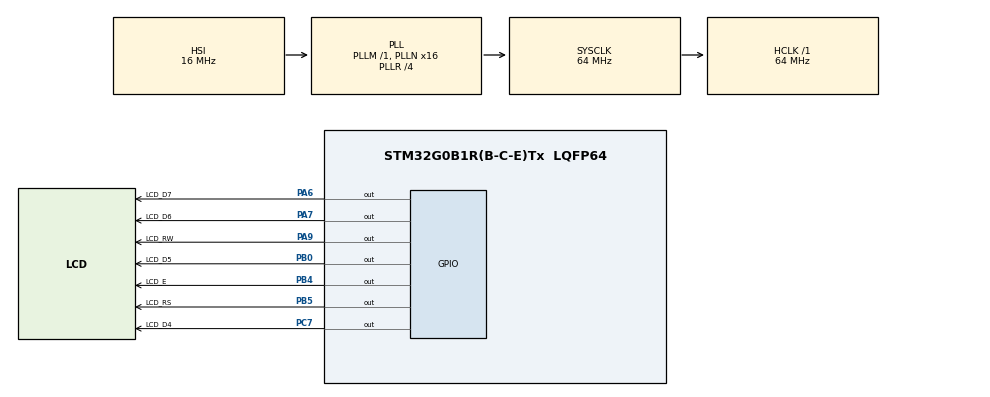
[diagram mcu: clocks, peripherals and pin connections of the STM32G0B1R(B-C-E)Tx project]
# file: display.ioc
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Mcu.Family=STM32G0
Mcu.Name=STM32G0B1R(B-C-E)Tx
Mcu.Package=LQFP64
NVIC.RCC_CRS_IRQn=true\:0\:0\:false\:false\:true\:true\:false
NVIC.TIM1_BRK_UP_TRG_COM_IRQn=true\:0\:0\:false\:false\:true\:true\:true
NVIC.TIM1_CC_IRQn=true\:0\:0\:false\:false\:true\:true\:true
PA13.Mode=Serial_Wire
PA13.Signal=SYS_SWDIO
PA14-BOOT0.Mode=Serial_Wire
PA14-BOOT0.Signal=SYS_SWCLK
PA6.GPIO_Label=LCD_D7
PA6.GPIO_Speed=GPIO_SPEED_FREQ_VERY_HIGH
PA6.Signal=GPIO_Output
PA7.GPIO_Label=LCD_D6
PA7.GPIO_Speed=GPIO_SPEED_FREQ_VERY_HIGH
PA7.Signal=GPIO_Output
PA9.GPIO_Label=LCD_RW
PA9.GPIO_Speed=GPIO_SPEED_FREQ_VERY_HIGH
PA9.Signal=GPIO_Output
PB0.GPIO_Label=LCD_D5
PB0.GPIO_Speed=GPIO_SPEED_FREQ_VERY_HIGH
PB0.Signal=GPIO_Output
PB4.GPIO_Label=LCD_E
PB4.GPIO_Speed=GPIO_SPEED_FREQ_VERY_HIGH
PB4.Signal=GPIO_Output
PB5.GPIO_Label=LCD_RS
PB5.GPIO_Speed=GPIO_SPEED_FREQ_VERY_HIGH
PB5.Signal=GPIO_Output
PC7.GPIO_Label=LCD_D4
PC7.GPIO_Speed=GPIO_SPEED_FREQ_VERY_HIGH
PC7.Signal=GPIO_Output
ProjectManager.HeapSize=0x200
ProjectManager.StackSize=0x400
ProjectManager.TargetToolchain=STM32CubeIDE
RCC.ADCFreq_Value=64000000
RCC.AHBFreq_Value=64000000
RCC.CortexFreq_Value=64000000
RCC.EXTERNAL_CLOCK_VALUE=48000
RCC.HCLKFreq_Value=64000000
RCC.HSE_VALUE=8000000
RCC.HSI48_VALUE=48000000
RCC.HSI_VALUE=16000000
RCC.LSE_VALUE=32768
RCC.PLLN=16
RCC.PLLR=RCC_PLLR_DIV4
RCC.SYSCLKFreq_VALUE=64000000
RCC.SYSCLKSource=RCC_SYSCLKSOURCE_PLLCLK
RCC.USBFreq_Value=48000000
RCC.VCOOutputFreq_Value=256000000
TIM1.Period=0xffff-1
TIM1.Prescaler=64-1
VP_SYS_VS_DBSignals.Mode=DisableDeadBatterySignals
VP_TIM1_VS_ClockSourceINT.Mode=Internal
board=custom

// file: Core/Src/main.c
/* USER CODE BEGIN Header */
/**
  ******************************************************************************
  * @file           : main.c
  * @brief          : Main program body
  ******************************************************************************
  * @attention
  *
  * Copyright (c) 2022 STMicroelectronics.
  * All rights reserved.
  *
  * This software is licensed under terms that can be found in the LICENSE file
  * in the root directory of this software component.
  * If no LICENSE file comes with this software, it is provided AS-IS.
  *
  ******************************************************************************
  */
/* USER CODE END Header */
#include "main.h"

/* USER CODE BEGIN Includes */
#include <stdint.h>
#include <string.h>
#include <stdlib.h>
#include <stdio.h>
#include "LCD1602.h"
/* USER CODE END Includes */

TIM_HandleTypeDef htim1;

/* USER CODE BEGIN PV */
uint16_t app;
uint16_t app_t;
uint8_t corrente ;
char text[200];
/* USER CODE END PV */

void SystemClock_Config(void);
static void MX_GPIO_Init(void);
static void MX_TIM1_Init(void);

/* USER CODE BEGIN 0 */

void __init_application(){

//	  memset(&app, 0, sizeof(app_t));

	  HAL_TIM_Base_Start(&htim1);
	  lcd_attr_gpio(LCD_RS, LCD_RS_GPIO_Port, LCD_RS_Pin);
	  lcd_attr_gpio(LCD_RW, LCD_RW_GPIO_Port, LCD_RW_Pin);
	  lcd_attr_gpio(LCD_E, LCD_E_GPIO_Port, LCD_E_Pin);

	  lcd_attr_gpio(LCD_D4, LCD_D4_GPIO_Port, LCD_D4_Pin);
	  lcd_attr_gpio(LCD_D5, LCD_D5_GPIO_Port, LCD_D5_Pin);
	  lcd_attr_gpio(LCD_D6, LCD_D6_GPIO_Port, LCD_D6_Pin);
	  lcd_attr_gpio(LCD_D7, LCD_D7_GPIO_Port, LCD_D7_Pin);

	  lcd_init();
	  lcd_put_cur(0, 0);
	  lcd_send_string("Corrente:");
	  lcd_send_string("482588959");
	  lcd_put_cur(1, 0);
	  lcd_send_string("Tensao:");
	  HAL_Delay(1000);
	  lcd_send_string("482548959");
	  lcd_put_cur(1, 0);
}

/* USER CODE END 0 */

int main(void)
{

  /* MCU Configuration--------------------------------------------------------*/

  /* Reset of all peripherals, Initializes the Flash interface and the Systick. */
  HAL_Init();

  /* Configure the system clock */
  SystemClock_Config();

  /* Initialize all configured peripherals */
  MX_GPIO_Init();
  MX_TIM1_Init();

  /* Infinite loop */
  /* USER CODE BEGIN WHILE */
  __init_application();
  while (1)
  {

	  /*for(int i = 0; i < 50; i++ ){
		  corrente++;
		  itoa(i,text,10);
		  lcd_init();
		  lcd_send_string(text);
		  HAL_Delay(500);
		  lcd_put_cur(0, 5);
		  lcd_send_string(":)");
		  HAL_Delay(1000);
		  lcd_put_cur(1, 5);
	  }*/

    /* USER CODE END WHILE */

  }
}

void SystemClock_Config(void)
{
  RCC_OscInitTypeDef RCC_OscInitStruct = {0};
  RCC_ClkInitTypeDef RCC_ClkInitStruct = {0};

  /** Configure the main internal regulator output voltage
  */
  HAL_PWREx_ControlVoltageScaling(PWR_REGULATOR_VOLTAGE_SCALE1);
  /** Initializes the RCC Oscillators according to the specified parameters
  * in the RCC_OscInitTypeDef structure.
  */
  RCC_OscInitStruct.OscillatorType = RCC_OSCILLATORTYPE_HSI;
  RCC_OscInitStruct.HSIState = RCC_HSI_ON;
  RCC_OscInitStruct.HSIDiv = RCC_HSI_DIV1;
  RCC_OscInitStruct.HSICalibrationValue = RCC_HSICALIBRATION_DEFAULT;
  RCC_OscInitStruct.PLL.PLLState = RCC_PLL_ON;
  RCC_OscInitStruct.PLL.PLLSource = RCC_PLLSOURCE_HSI;
  RCC_OscInitStruct.PLL.PLLM = RCC_PLLM_DIV1;
  RCC_OscInitStruct.PLL.PLLN = 16;
  RCC_OscInitStruct.PLL.PLLP = RCC_PLLP_DIV2;
  RCC_OscInitStruct.PLL.PLLQ = RCC_PLLQ_DIV2;
  RCC_OscInitStruct.PLL.PLLR = RCC_PLLR_DIV4;
  if (HAL_RCC_OscConfig(&RCC_OscInitStruct) != HAL_OK)
  {
    Error_Handler();
  }
  /** Initializes the CPU, AHB and APB buses clocks
  */
  RCC_ClkInitStruct.ClockType = RCC_CLOCKTYPE_HCLK|RCC_CLOCKTYPE_SYSCLK
                              |RCC_CLOCKTYPE_PCLK1;
  RCC_ClkInitStruct.SYSCLKSource = RCC_SYSCLKSOURCE_PLLCLK;
  RCC_ClkInitStruct.AHBCLKDivider = RCC_SYSCLK_DIV1;
  RCC_ClkInitStruct.APB1CLKDivider = RCC_HCLK_DIV1;

  if (HAL_RCC_ClockConfig(&RCC_ClkInitStruct, FLASH_LATENCY_2) != HAL_OK)
  {
    Error_Handler();
  }
}

static void MX_TIM1_Init(void)
{

  TIM_ClockConfigTypeDef sClockSourceConfig = {0};
  TIM_MasterConfigTypeDef sMasterConfig = {0};

  htim1.Instance = TIM1;
  htim1.Init.Prescaler = 64-1;
  htim1.Init.CounterMode = TIM_COUNTERMODE_UP;
  htim1.Init.Period = 0xffff-1;
  htim1.Init.ClockDivision = TIM_CLOCKDIVISION_DIV1;
  htim1.Init.RepetitionCounter = 0;
  htim1.Init.AutoReloadPreload = TIM_AUTORELOAD_PRELOAD_DISABLE;
  if (HAL_TIM_Base_Init(&htim1) != HAL_OK)
  {
    Error_Handler();
  }
  sClockSourceConfig.ClockSource = TIM_CLOCKSOURCE_INTERNAL;
  if (HAL_TIM_ConfigClockSource(&htim1, &sClockSourceConfig) != HAL_OK)
  {
    Error_Handler();
  }
  sMasterConfig.MasterOutputTrigger = TIM_TRGO_RESET;
  sMasterConfig.MasterOutputTrigger2 = TIM_TRGO2_RESET;
  sMasterConfig.MasterSlaveMode = TIM_MASTERSLAVEMODE_DISABLE;
  if (HAL_TIMEx_MasterConfigSynchronization(&htim1, &sMasterConfig) != HAL_OK)
  {
    Error_Handler();
  }

}

static void MX_GPIO_Init(void)
{
  GPIO_InitTypeDef GPIO_InitStruct = {0};

  /* GPIO Ports Clock Enable */
  __HAL_RCC_GPIOA_CLK_ENABLE();
  __HAL_RCC_GPIOB_CLK_ENABLE();
  __HAL_RCC_GPIOC_CLK_ENABLE();

  /*Configure GPIO pin Output Level */
  HAL_GPIO_WritePin(GPIOA, LCD_D7_Pin|LCD_D6_Pin|LCD_RW_Pin, GPIO_PIN_RESET);

  /*Configure GPIO pin Output Level */
  HAL_GPIO_WritePin(GPIOB, LCD_D5_Pin|LCD_E_Pin|LCD_RS_Pin, GPIO_PIN_RESET);

  /*Configure GPIO pin Output Level */
  HAL_GPIO_WritePin(LCD_D4_GPIO_Port, LCD_D4_Pin, GPIO_PIN_RESET);

  /*Configure GPIO pins : LCD_D7_Pin LCD_D6_Pin LCD_RW_Pin */
  GPIO_InitStruct.Pin = LCD_D7_Pin|LCD_D6_Pin|LCD_RW_Pin;
  GPIO_InitStruct.Mode = GPIO_MODE_OUTPUT_PP;
  GPIO_InitStruct.Pull = GPIO_NOPULL;
  GPIO_InitStruct.Speed = GPIO_SPEED_FREQ_VERY_HIGH;
  HAL_GPIO_Init(GPIOA, &GPIO_InitStruct);

  /*Configure GPIO pins : LCD_D5_Pin LCD_E_Pin LCD_RS_Pin */
  GPIO_InitStruct.Pin = LCD_D5_Pin|LCD_E_Pin|LCD_RS_Pin;
  GPIO_InitStruct.Mode = GPIO_MODE_OUTPUT_PP;
  GPIO_InitStruct.Pull = GPIO_NOPULL;
  GPIO_InitStruct.Speed = GPIO_SPEED_FREQ_VERY_HIGH;
  HAL_GPIO_Init(GPIOB, &GPIO_InitStruct);

  /*Configure GPIO pin : LCD_D4_Pin */
  GPIO_InitStruct.Pin = LCD_D4_Pin;
  GPIO_InitStruct.Mode = GPIO_MODE_OUTPUT_PP;
  GPIO_InitStruct.Pull = GPIO_NOPULL;
  GPIO_InitStruct.Speed = GPIO_SPEED_FREQ_VERY_HIGH;
  HAL_GPIO_Init(LCD_D4_GPIO_Port, &GPIO_InitStruct);

}

void Error_Handler(void)
{
  __disable_irq();
  while (1)
  {
  }
}
